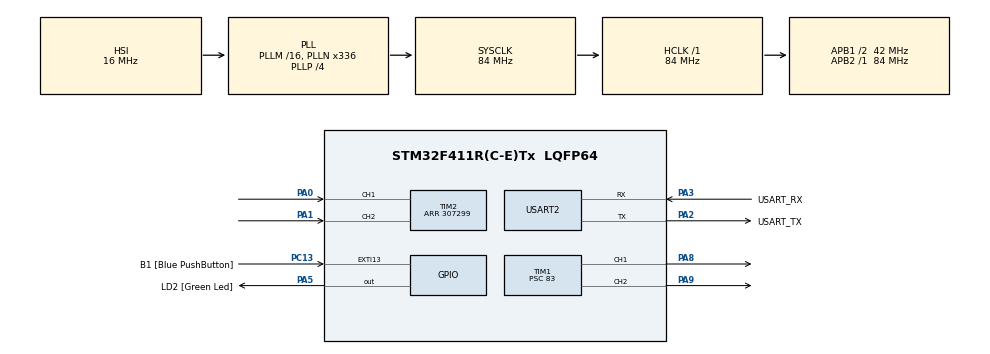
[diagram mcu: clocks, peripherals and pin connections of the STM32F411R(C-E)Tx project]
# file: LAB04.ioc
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ARM.CMSIS.5.6.0.CMSISJjCORE=true
ARM.CMSIS.5.6.0.CMSISJjDSP=Library
Mcu.Family=STM32F4
Mcu.Name=STM32F411R(C-E)Tx
Mcu.Package=LQFP64
NVIC.PriorityGroup=NVIC_PRIORITYGROUP_0
PA0-WKUP.Signal=S_TIM2_CH1_ETR
PA1.Signal=S_TIM2_CH2
PA13.GPIO_Label=TMS
PA13.Mode=Trace_Asynchronous_SW
PA13.Signal=SYS_JTMS-SWDIO
PA14.GPIO_Label=TCK
PA14.Mode=Trace_Asynchronous_SW
PA14.Signal=SYS_JTCK-SWCLK
PA2.GPIO_Label=USART_TX
PA2.Mode=Asynchronous
PA2.Signal=USART2_TX
PA3.GPIO_Label=USART_RX
PA3.Mode=Asynchronous
PA3.Signal=USART2_RX
PA5.GPIO_Label=LD2 [Green Led]
PA5.Signal=GPIO_Output
PA8.Signal=S_TIM1_CH1
PA9.Signal=S_TIM1_CH2
PB3.GPIO_Label=SWO
PB3.Mode=Trace_Asynchronous_SW
PB3.Signal=SYS_JTDO-SWO
PC13-ANTI_TAMP.GPIO_Label=B1 [Blue PushButton]
PC13-ANTI_TAMP.GPIO_ModeDefaultEXTI=GPIO_MODE_IT_FALLING
PC13-ANTI_TAMP.Signal=GPXTI13
PC14-OSC32_IN.Mode=LSE-External-Oscillator
PC14-OSC32_IN.Signal=RCC_OSC32_IN
PC15-OSC32_OUT.Mode=LSE-External-Oscillator
PC15-OSC32_OUT.Signal=RCC_OSC32_OUT
PH0\ -\ OSC_IN.Mode=HSE-External-Clock-Source
PH0\ -\ OSC_IN.Signal=RCC_OSC_IN
PH1\ -\ OSC_OUT.Mode=HSE-External-Clock-Source
PH1\ -\ OSC_OUT.Signal=RCC_OSC_OUT
ProjectManager.HeapSize=0x200
ProjectManager.StackSize=0x400
ProjectManager.TargetToolchain=STM32CubeIDE
RCC.48MHZClocksFreq_Value=84000000
RCC.AHBFreq_Value=84000000
RCC.APB1CLKDivider=RCC_HCLK_DIV2
RCC.APB1Freq_Value=42000000
RCC.APB1TimFreq_Value=84000000
RCC.APB2Freq_Value=84000000
RCC.APB2TimFreq_Value=84000000
RCC.CortexFreq_Value=84000000
RCC.FLatency-AdvancedSettings=FLASH_LATENCY_2
RCC.HCLKFreq_Value=84000000
RCC.HSE_VALUE=8000000
RCC.HSI_VALUE=16000000
RCC.PLLN=336
RCC.PLLP=RCC_PLLP_DIV4
RCC.SYSCLKFreq_VALUE=84000000
RCC.SYSCLKSource=RCC_SYSCLKSOURCE_PLLCLK
RCC.VCOOutputFreq_Value=336000000
SH.S_TIM1_CH1.0=TIM1_CH1,PWM Generation1 CH1
SH.S_TIM1_CH2.0=TIM1_CH2,PWM Generation2 CH2
SH.S_TIM2_CH1_ETR.0=TIM2_CH1,Encoder_Interface
SH.S_TIM2_CH2.0=TIM2_CH2,Encoder_Interface
TIM1.Channel-PWM\ Generation1\ CH1=TIM_CHANNEL_1
TIM1.Channel-PWM\ Generation2\ CH2=TIM_CHANNEL_2
TIM1.Period=999
TIM1.Prescaler=83
TIM1.Pulse-PWM\ Generation1\ CH1=0
TIM2.EncoderMode=TIM_ENCODERMODE_TI12
TIM2.Period=307299
USART2.VirtualMode=VM_ASYNC
VP_ARM.CMSIS_VS_CMSISJjCORE_5.3.0_5.6.0.Mode=CMSISJjCORE
VP_ARM.CMSIS_VS_CMSISJjDSP_1.7.0_5.6.0.Mode=CMSISJjDSP
VP_TIM1_VS_ClockSourceINT.Mode=Internal
board=NUCLEO-F411RE

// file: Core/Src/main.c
/* USER CODE BEGIN Header */
/**
  ******************************************************************************
  * @file           : main.c
  * @brief          : Main program body
  ******************************************************************************
  * @attention
  *
  * Copyright (c) 2023 STMicroelectronics.
  * All rights reserved.
  *
  * This software is licensed under terms that can be found in the LICENSE file
  * in the root directory of this software component.
  * If no LICENSE file comes with this software, it is provided AS-IS.
  *
  ******************************************************************************
  */
/* USER CODE END Header */
#include "main.h"

/* USER CODE BEGIN Includes */
#include "arm_math.h"
//Monsicha
/* USER CODE END Includes */

TIM_HandleTypeDef htim1;
TIM_HandleTypeDef htim2;

UART_HandleTypeDef huart2;

/* USER CODE BEGIN PV */
uint32_t QEIReadRaw;
float duty = 0;
arm_pid_instance_f32 PID = {0};
float position = 0;
float setposition = 0;
float setdegree = 360.5;
float maxposition = 0;
float overshoot = 0;
/* USER CODE END PV */

void SystemClock_Config(void);
static void MX_GPIO_Init(void);
static void MX_USART2_UART_Init(void);
static void MX_TIM1_Init(void);
static void MX_TIM2_Init(void);

int main(void)
{

  /* MCU Configuration--------------------------------------------------------*/

  /* Reset of all peripherals, Initializes the Flash interface and the Systick. */
  HAL_Init();

  /* Configure the system clock */
  SystemClock_Config();

  /* Initialize all configured peripherals */
  MX_GPIO_Init();
  MX_USART2_UART_Init();
  MX_TIM1_Init();
  MX_TIM2_Init();
  /* USER CODE BEGIN 2 */
  HAL_TIM_Encoder_Start(&htim2, TIM_CHANNEL_1|TIM_CHANNEL_2); //Read QEI counter get position

  HAL_TIM_Base_Start(&htim1); //Start Timer1
  HAL_TIM_PWM_Start(&htim1, TIM_CHANNEL_1);
  HAL_TIM_PWM_Start(&htim1, TIM_CHANNEL_2);

  PID.Kp = 30;
  PID.Ki = 0;
  PID.Kd = 60;
  arm_pid_init_f32(&PID, 0);

  /* USER CODE END 2 */

  /* Infinite loop */
  while (1)
  {

    /* USER CODE BEGIN 3 */
	  setposition = setdegree/36000.0*307200;

	  QEIReadRaw = __HAL_TIM_GET_COUNTER(&htim2);
	  position = QEIReadRaw;

	  static uint32_t timestamp = 0;
	  if (HAL_GetTick()>= timestamp)
	  {
		  timestamp = HAL_GetTick()+10;
		  duty = arm_pid_f32(&PID, setposition - position);
		  if (duty >= 0)
		  {
			  __HAL_TIM_SET_COMPARE(&htim1,TIM_CHANNEL_2,0);
			  __HAL_TIM_SET_COMPARE(&htim1,TIM_CHANNEL_1,duty);
		  }
		  else if (duty < 0)
		  {
			  __HAL_TIM_SET_COMPARE(&htim1,TIM_CHANNEL_1,0);
			  __HAL_TIM_SET_COMPARE(&htim1,TIM_CHANNEL_2,-1*duty);
		  }
		  if (position > maxposition)
		  {
			  maxposition = position;
		  }
		  overshoot = maxposition - position;
	  }
  }
  /* USER CODE END 3 */
}

void SystemClock_Config(void)
{
  RCC_OscInitTypeDef RCC_OscInitStruct = {0};
  RCC_ClkInitTypeDef RCC_ClkInitStruct = {0};

  /** Configure the main internal regulator output voltage
  */
  __HAL_RCC_PWR_CLK_ENABLE();
  __HAL_PWR_VOLTAGESCALING_CONFIG(PWR_REGULATOR_VOLTAGE_SCALE1);

  /** Initializes the RCC Oscillators according to the specified parameters
  * in the RCC_OscInitTypeDef structure.
  */
  RCC_OscInitStruct.OscillatorType = RCC_OSCILLATORTYPE_HSI;
  RCC_OscInitStruct.HSIState = RCC_HSI_ON;
  RCC_OscInitStruct.HSICalibrationValue = RCC_HSICALIBRATION_DEFAULT;
  RCC_OscInitStruct.PLL.PLLState = RCC_PLL_ON;
  RCC_OscInitStruct.PLL.PLLSource = RCC_PLLSOURCE_HSI;
  RCC_OscInitStruct.PLL.PLLM = 16;
  RCC_OscInitStruct.PLL.PLLN = 336;
  RCC_OscInitStruct.PLL.PLLP = RCC_PLLP_DIV4;
  RCC_OscInitStruct.PLL.PLLQ = 4;
  if (HAL_RCC_OscConfig(&RCC_OscInitStruct) != HAL_OK)
  {
    Error_Handler();
  }

  /** Initializes the CPU, AHB and APB buses clocks
  */
  RCC_ClkInitStruct.ClockType = RCC_CLOCKTYPE_HCLK|RCC_CLOCKTYPE_SYSCLK
                              |RCC_CLOCKTYPE_PCLK1|RCC_CLOCKTYPE_PCLK2;
  RCC_ClkInitStruct.SYSCLKSource = RCC_SYSCLKSOURCE_PLLCLK;
  RCC_ClkInitStruct.AHBCLKDivider = RCC_SYSCLK_DIV1;
  RCC_ClkInitStruct.APB1CLKDivider = RCC_HCLK_DIV2;
  RCC_ClkInitStruct.APB2CLKDivider = RCC_HCLK_DIV1;

  if (HAL_RCC_ClockConfig(&RCC_ClkInitStruct, FLASH_LATENCY_2) != HAL_OK)
  {
    Error_Handler();
  }
}

static void MX_TIM1_Init(void)
{

  TIM_ClockConfigTypeDef sClockSourceConfig = {0};
  TIM_MasterConfigTypeDef sMasterConfig = {0};
  TIM_OC_InitTypeDef sConfigOC = {0};
  TIM_BreakDeadTimeConfigTypeDef sBreakDeadTimeConfig = {0};

  htim1.Instance = TIM1;
  htim1.Init.Prescaler = 83;
  htim1.Init.CounterMode = TIM_COUNTERMODE_UP;
  htim1.Init.Period = 999;
  htim1.Init.ClockDivision = TIM_CLOCKDIVISION_DIV1;
  htim1.Init.RepetitionCounter = 0;
  htim1.Init.AutoReloadPreload = TIM_AUTORELOAD_PRELOAD_DISABLE;
  if (HAL_TIM_Base_Init(&htim1) != HAL_OK)
  {
    Error_Handler();
  }
  sClockSourceConfig.ClockSource = TIM_CLOCKSOURCE_INTERNAL;
  if (HAL_TIM_ConfigClockSource(&htim1, &sClockSourceConfig) != HAL_OK)
  {
    Error_Handler();
  }
  if (HAL_TIM_PWM_Init(&htim1) != HAL_OK)
  {
    Error_Handler();
  }
  sMasterConfig.MasterOutputTrigger = TIM_TRGO_RESET;
  sMasterConfig.MasterSlaveMode = TIM_MASTERSLAVEMODE_DISABLE;
  if (HAL_TIMEx_MasterConfigSynchronization(&htim1, &sMasterConfig) != HAL_OK)
  {
    Error_Handler();
  }
  sConfigOC.OCMode = TIM_OCMODE_PWM1;
  sConfigOC.Pulse = 0;
  sConfigOC.OCPolarity = TIM_OCPOLARITY_HIGH;
  sConfigOC.OCNPolarity = TIM_OCNPOLARITY_HIGH;
  sConfigOC.OCFastMode = TIM_OCFAST_DISABLE;
  sConfigOC.OCIdleState = TIM_OCIDLESTATE_RESET;
  sConfigOC.OCNIdleState = TIM_OCNIDLESTATE_RESET;
  if (HAL_TIM_PWM_ConfigChannel(&htim1, &sConfigOC, TIM_CHANNEL_1) != HAL_OK)
  {
    Error_Handler();
  }
  if (HAL_TIM_PWM_ConfigChannel(&htim1, &sConfigOC, TIM_CHANNEL_2) != HAL_OK)
  {
    Error_Handler();
  }
  sBreakDeadTimeConfig.OffStateRunMode = TIM_OSSR_DISABLE;
  sBreakDeadTimeConfig.OffStateIDLEMode = TIM_OSSI_DISABLE;
  sBreakDeadTimeConfig.LockLevel = TIM_LOCKLEVEL_OFF;
  sBreakDeadTimeConfig.DeadTime = 0;
  sBreakDeadTimeConfig.BreakState = TIM_BREAK_DISABLE;
  sBreakDeadTimeConfig.BreakPolarity = TIM_BREAKPOLARITY_HIGH;
  sBreakDeadTimeConfig.AutomaticOutput = TIM_AUTOMATICOUTPUT_DISABLE;
  if (HAL_TIMEx_ConfigBreakDeadTime(&htim1, &sBreakDeadTimeConfig) != HAL_OK)
  {
    Error_Handler();
  }
  HAL_TIM_MspPostInit(&htim1);

}

static void MX_TIM2_Init(void)
{

  TIM_Encoder_InitTypeDef sConfig = {0};
  TIM_MasterConfigTypeDef sMasterConfig = {0};

  htim2.Instance = TIM2;
  htim2.Init.Prescaler = 0;
  htim2.Init.CounterMode = TIM_COUNTERMODE_UP;
  htim2.Init.Period = 307299;
  htim2.Init.ClockDivision = TIM_CLOCKDIVISION_DIV1;
  htim2.Init.AutoReloadPreload = TIM_AUTORELOAD_PRELOAD_DISABLE;
  sConfig.EncoderMode = TIM_ENCODERMODE_TI12;
  sConfig.IC1Polarity = TIM_ICPOLARITY_RISING;
  sConfig.IC1Selection = TIM_ICSELECTION_DIRECTTI;
  sConfig.IC1Prescaler = TIM_ICPSC_DIV1;
  sConfig.IC1Filter = 0;
  sConfig.IC2Polarity = TIM_ICPOLARITY_RISING;
  sConfig.IC2Selection = TIM_ICSELECTION_DIRECTTI;
  sConfig.IC2Prescaler = TIM_ICPSC_DIV1;
  sConfig.IC2Filter = 0;
  if (HAL_TIM_Encoder_Init(&htim2, &sConfig) != HAL_OK)
  {
    Error_Handler();
  }
  sMasterConfig.MasterOutputTrigger = TIM_TRGO_RESET;
  sMasterConfig.MasterSlaveMode = TIM_MASTERSLAVEMODE_DISABLE;
  if (HAL_TIMEx_MasterConfigSynchronization(&htim2, &sMasterConfig) != HAL_OK)
  {
    Error_Handler();
  }

}

static void MX_USART2_UART_Init(void)
{

  huart2.Instance = USART2;
  huart2.Init.BaudRate = 115200;
  huart2.Init.WordLength = UART_WORDLENGTH_8B;
  huart2.Init.StopBits = UART_STOPBITS_1;
  huart2.Init.Parity = UART_PARITY_NONE;
  huart2.Init.Mode = UART_MODE_TX_RX;
  huart2.Init.HwFlowCtl = UART_HWCONTROL_NONE;
  huart2.Init.OverSampling = UART_OVERSAMPLING_16;
  if (HAL_UART_Init(&huart2) != HAL_OK)
  {
    Error_Handler();
  }

}

static void MX_GPIO_Init(void)
{
  GPIO_InitTypeDef GPIO_InitStruct = {0};

  /* GPIO Ports Clock Enable */
  __HAL_RCC_GPIOC_CLK_ENABLE();
  __HAL_RCC_GPIOH_CLK_ENABLE();
  __HAL_RCC_GPIOA_CLK_ENABLE();
  __HAL_RCC_GPIOB_CLK_ENABLE();

  /*Configure GPIO pin Output Level */
  HAL_GPIO_WritePin(LD2_GPIO_Port, LD2_Pin, GPIO_PIN_RESET);

  /*Configure GPIO pin : B1_Pin */
  GPIO_InitStruct.Pin = B1_Pin;
  GPIO_InitStruct.Mode = GPIO_MODE_IT_FALLING;
  GPIO_InitStruct.Pull = GPIO_NOPULL;
  HAL_GPIO_Init(B1_GPIO_Port, &GPIO_InitStruct);

  /*Configure GPIO pin : LD2_Pin */
  GPIO_InitStruct.Pin = LD2_Pin;
  GPIO_InitStruct.Mode = GPIO_MODE_OUTPUT_PP;
  GPIO_InitStruct.Pull = GPIO_NOPULL;
  GPIO_InitStruct.Speed = GPIO_SPEED_FREQ_LOW;
  HAL_GPIO_Init(LD2_GPIO_Port, &GPIO_InitStruct);

}

void Error_Handler(void)
{
  __disable_irq();
  while (1)
  {
  }
}
